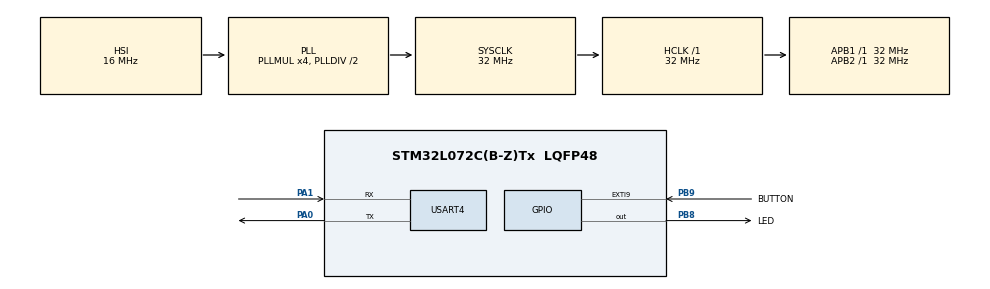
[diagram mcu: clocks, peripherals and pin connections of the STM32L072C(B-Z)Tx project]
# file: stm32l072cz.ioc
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Dma.Request0=USART4_RX
Dma.USART4_RX.0.Direction=DMA_PERIPH_TO_MEMORY
Dma.USART4_RX.0.Instance=DMA1_Channel2
Dma.USART4_RX.0.MemDataAlignment=DMA_MDATAALIGN_BYTE
Dma.USART4_RX.0.MemInc=DMA_MINC_ENABLE
Dma.USART4_RX.0.Mode=DMA_NORMAL
Dma.USART4_RX.0.PeriphDataAlignment=DMA_PDATAALIGN_BYTE
Dma.USART4_RX.0.PeriphInc=DMA_PINC_DISABLE
Dma.USART4_RX.0.Priority=DMA_PRIORITY_LOW
Mcu.Family=STM32L0
Mcu.Name=STM32L072C(B-Z)Tx
Mcu.Package=LQFP48
NVIC.DMA1_Channel2_3_IRQn=true\:0\:0\:false\:false\:true\:false\:true
NVIC.EXTI4_15_IRQn=true\:0\:0\:false\:false\:true\:true\:true
NVIC.RTC_IRQn=true\:0\:0\:false\:false\:true\:true\:true
PA0.Mode=Asynchronous
PA0.Signal=USART4_TX
PA1.Mode=Asynchronous
PA1.Signal=USART4_RX
PB8.GPIO_Label=LED
PB8.Signal=GPIO_Output
PB9.GPIO_Label=BUTTON
PB9.GPIO_PuPd=GPIO_PULLUP
PB9.Signal=GPXTI9
PC14-OSC32_IN.Mode=LSE-External-Oscillator
PC14-OSC32_IN.Signal=RCC_OSC32_IN
PC15-OSC32_OUT.Mode=LSE-External-Oscillator
PC15-OSC32_OUT.Signal=RCC_OSC32_OUT
ProjectManager.HeapSize=0x200
ProjectManager.StackSize=0x400
ProjectManager.TargetToolchain=STM32CubeIDE
RCC.AHBFreq_Value=32000000
RCC.APB1Freq_Value=32000000
RCC.APB1TimFreq_Value=32000000
RCC.APB2Freq_Value=32000000
RCC.APB2TimFreq_Value=32000000
RCC.HCLKFreq_Value=32000000
RCC.HSE_VALUE=8000000
RCC.HSI16_VALUE=16000000
RCC.HSI48_VALUE=48000000
RCC.HSI_VALUE=16000000
RCC.MSI_VALUE=2097000
RCC.PLLMUL=RCC_PLLMUL_4
RCC.RTCClockSelection=RCC_RTCCLKSOURCE_LSE
RCC.SYSCLKFreq_VALUE=32000000
RCC.SYSCLKSource=RCC_SYSCLKSOURCE_PLLCLK
RCC.VCOOutputFreq_Value=64000000
USART4.VirtualMode-Asynchronous=VM_ASYNC
VP_RTC_VS_RTC_Activate.Mode=RTC_Enabled
VP_RTC_VS_RTC_WakeUp_intern.Mode=WakeUp
board=custom

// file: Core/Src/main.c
/* USER CODE BEGIN Header */
/**
  ******************************************************************************
  * @file           : main.c
  * @brief          : Main program body
  ******************************************************************************
  * @attention
  *
  * <h2><center>&copy; Copyright (c) 2022 STMicroelectronics.
  * All rights reserved.</center></h2>
  *
  * This software component is licensed by ST under BSD 3-Clause license,
  * the "License"; You may not use this file except in compliance with the
  * License. You may obtain a copy of the License at:
  *                        opensource.org/licenses/BSD-3-Clause
  *
  ******************************************************************************
  *	https://www.youtube.com/watch?v=UtQhc4XV8k4
  ******************************************************************************
  */
/* USER CODE END Header */
#include "main.h"

/* USER CODE BEGIN Includes */
#include "string.h"
/* USER CODE END Includes */

RTC_HandleTypeDef hrtc;

UART_HandleTypeDef huart4;
DMA_HandleTypeDef hdma_usart4_rx;

void SystemClock_Config(void);
static void MX_GPIO_Init(void);
static void MX_DMA_Init(void);
static void MX_USART4_UART_Init(void);
static void MX_RTC_Init(void);

int main(void)
{

  /* MCU Configuration--------------------------------------------------------*/

  /* Reset of all peripherals, Initializes the Flash interface and the Systick. */
  HAL_Init();

  /* Configure the system clock */
  SystemClock_Config();

  /* Initialize all configured peripherals */
  MX_GPIO_Init();
  MX_DMA_Init();
  MX_USART4_UART_Init();
  MX_RTC_Init();
  /* USER CODE BEGIN 2 */

  // disable the RTC wakeup
  HAL_RTCEx_DeactivateWakeUpTimer(&hrtc);

  for (int i=0; i<20; i++){
	  HAL_GPIO_TogglePin(LED_GPIO_Port, LED_Pin);
	  HAL_Delay(200);
  }
  HAL_GPIO_WritePin(LED_GPIO_Port, LED_Pin, GPIO_PIN_SET);

  char *str = "ABOUT TO GO INTO THE STOP MODE\r\n";
  HAL_UART_Transmit(&huart4, (uint8_t *)str, strlen(str),HAL_MAX_DELAY);

  /*** RTC WAKEUP TIMER RELATED ****/

  /*## Configure the Wake up timer #############################################*/
  /*	RTC Wake-up Interrupt Generation:
   * 	Wake-up Time Base = (RTC_WAKEUPCLOCK_RTCCLK_DIV / (LSI or LSE))
   * 	==> WakeUpCounter = Wake-up Time / Wake-up Time Base
   *
   * 	To configure the wake up timer to 10s the WakeUpCounter is set to :
   * 		RTC_WAKEUPCLOCK_RTCCLK_DIV = RTCCLK_Div16 = 16
   * 		Wake-up Time Base = 16 / (32KHz) = 0.0005 seconds
   * 		==> WakeUpCounter = ~10s/0.0005s = 20000 = 0x4E20
   */

  if (HAL_RTCEx_SetWakeUpTimer_IT(&hrtc, 0x4E20, RTC_WAKEUPCLOCK_RTCCLK_DIV16) != HAL_OK)
  {
    Error_Handler();
  }

  /*** Suspend the systick before going into stop mode ****/
  HAL_SuspendTick();

  /*** enable sleep on exit for interrupt only operation ****/
  HAL_PWR_EnableSleepOnExit();

  /*** ENTER THE STOP MODE ****/
  HAL_PWR_EnterSTOPMode(PWR_LOWPOWERREGULATOR_ON, PWR_STOPENTRY_WFI);

  /*** wake up from stop mode ****/
//  SystemClock_Config();
//  HAL_ResumeTick();

  // disable the RTC wakeup
  HAL_RTCEx_DeactivateWakeUpTimer(&hrtc);

  for (int i=0; i<5; i++){
	  HAL_GPIO_TogglePin(LED_GPIO_Port, LED_Pin);
	  HAL_Delay(2000);
  }
  HAL_GPIO_WritePin(LED_GPIO_Port, LED_Pin, GPIO_PIN_SET);

  char *str2 = "WAKEUP FROM STOP MODE in the MAIN LOOP\r\n";
  HAL_UART_Transmit(&huart4, (uint8_t *)str2, strlen(str2), HAL_MAX_DELAY);

  /* USER CODE END 2 */

  /* Infinite loop */
  while (1)
  {

  }
}

void SystemClock_Config(void)
{
  RCC_OscInitTypeDef RCC_OscInitStruct = {0};
  RCC_ClkInitTypeDef RCC_ClkInitStruct = {0};
  RCC_PeriphCLKInitTypeDef PeriphClkInit = {0};

  /** Configure the main internal regulator output voltage
  */
  __HAL_PWR_VOLTAGESCALING_CONFIG(PWR_REGULATOR_VOLTAGE_SCALE1);
  /** Configure LSE Drive Capability
  */
  HAL_PWR_EnableBkUpAccess();
  __HAL_RCC_LSEDRIVE_CONFIG(RCC_LSEDRIVE_LOW);
  /** Initializes the RCC Oscillators according to the specified parameters
  * in the RCC_OscInitTypeDef structure.
  */
  RCC_OscInitStruct.OscillatorType = RCC_OSCILLATORTYPE_HSI|RCC_OSCILLATORTYPE_LSE;
  RCC_OscInitStruct.LSEState = RCC_LSE_ON;
  RCC_OscInitStruct.HSIState = RCC_HSI_ON;
  RCC_OscInitStruct.HSICalibrationValue = RCC_HSICALIBRATION_DEFAULT;
  RCC_OscInitStruct.PLL.PLLState = RCC_PLL_ON;
  RCC_OscInitStruct.PLL.PLLSource = RCC_PLLSOURCE_HSI;
  RCC_OscInitStruct.PLL.PLLMUL = RCC_PLLMUL_4;
  RCC_OscInitStruct.PLL.PLLDIV = RCC_PLLDIV_2;
  if (HAL_RCC_OscConfig(&RCC_OscInitStruct) != HAL_OK)
  {
    Error_Handler();
  }
  /** Initializes the CPU, AHB and APB buses clocks
  */
  RCC_ClkInitStruct.ClockType = RCC_CLOCKTYPE_HCLK|RCC_CLOCKTYPE_SYSCLK
                              |RCC_CLOCKTYPE_PCLK1|RCC_CLOCKTYPE_PCLK2;
  RCC_ClkInitStruct.SYSCLKSource = RCC_SYSCLKSOURCE_PLLCLK;
  RCC_ClkInitStruct.AHBCLKDivider = RCC_SYSCLK_DIV1;
  RCC_ClkInitStruct.APB1CLKDivider = RCC_HCLK_DIV1;
  RCC_ClkInitStruct.APB2CLKDivider = RCC_HCLK_DIV1;

  if (HAL_RCC_ClockConfig(&RCC_ClkInitStruct, FLASH_LATENCY_1) != HAL_OK)
  {
    Error_Handler();
  }
  PeriphClkInit.PeriphClockSelection = RCC_PERIPHCLK_RTC;
  PeriphClkInit.RTCClockSelection = RCC_RTCCLKSOURCE_LSE;
  if (HAL_RCCEx_PeriphCLKConfig(&PeriphClkInit) != HAL_OK)
  {
    Error_Handler();
  }
}

static void MX_RTC_Init(void)
{

  /* USER CODE BEGIN RTC_Init 0 */
	RTC_TimeTypeDef sTime = {0};
	RTC_DateTypeDef sDate = {0};
  /* USER CODE END RTC_Init 0 */

  /** Initialize RTC Only
  */
  hrtc.Instance = RTC;
  hrtc.Init.HourFormat = RTC_HOURFORMAT_24;
  hrtc.Init.AsynchPrediv = 127;
  hrtc.Init.SynchPrediv = 255;
  hrtc.Init.OutPut = RTC_OUTPUT_DISABLE;
  hrtc.Init.OutPutRemap = RTC_OUTPUT_REMAP_NONE;
  hrtc.Init.OutPutPolarity = RTC_OUTPUT_POLARITY_HIGH;
  hrtc.Init.OutPutType = RTC_OUTPUT_TYPE_OPENDRAIN;
  if (HAL_RTC_Init(&hrtc) != HAL_OK)
  {
    Error_Handler();
  }
  /** Enable the WakeUp
  */
  if (HAL_RTCEx_SetWakeUpTimer_IT(&hrtc, 0, RTC_WAKEUPCLOCK_RTCCLK_DIV16) != HAL_OK)
  {
    Error_Handler();
  }
  /* USER CODE BEGIN RTC_Init 2 */

  sTime.Hours = 0x0;
  sTime.Minutes = 0x0;
  sTime.Seconds = 0x0;
  sTime.DayLightSaving = RTC_DAYLIGHTSAVING_NONE;
  sTime.StoreOperation = RTC_STOREOPERATION_RESET;
  if(HAL_RTC_SetTime(&hrtc, &sTime, RTC_FORMAT_BCD) != HAL_OK){
	  Error_Handler();
  }

  sDate.WeekDay = RTC_WEEKDAY_MONDAY;
  sDate.Month = RTC_MONTH_JANUARY;
  sDate.Date = 0x1;
  sDate.Year = 0x0;
  if(HAL_RTC_SetDate(&hrtc, &sDate, RTC_FORMAT_BCD) != HAL_OK){
	  Error_Handler();
  }

  /* USER CODE END RTC_Init 2 */

}

static void MX_USART4_UART_Init(void)
{

  huart4.Instance = USART4;
  huart4.Init.BaudRate = 115200;
  huart4.Init.WordLength = UART_WORDLENGTH_8B;
  huart4.Init.StopBits = UART_STOPBITS_1;
  huart4.Init.Parity = UART_PARITY_NONE;
  huart4.Init.Mode = UART_MODE_TX_RX;
  huart4.Init.HwFlowCtl = UART_HWCONTROL_NONE;
  huart4.Init.OverSampling = UART_OVERSAMPLING_16;
  huart4.Init.OneBitSampling = UART_ONE_BIT_SAMPLE_DISABLE;
  huart4.AdvancedInit.AdvFeatureInit = UART_ADVFEATURE_NO_INIT;
  if (HAL_UART_Init(&huart4) != HAL_OK)
  {
    Error_Handler();
  }

}

static void MX_DMA_Init(void)
{

  /* DMA controller clock enable */
  __HAL_RCC_DMA1_CLK_ENABLE();

  /* DMA interrupt init */
  /* DMA1_Channel2_3_IRQn interrupt configuration */
  HAL_NVIC_SetPriority(DMA1_Channel2_3_IRQn, 0, 0);
  HAL_NVIC_EnableIRQ(DMA1_Channel2_3_IRQn);

}

static void MX_GPIO_Init(void)
{
  GPIO_InitTypeDef GPIO_InitStruct = {0};

  /* GPIO Ports Clock Enable */
  __HAL_RCC_GPIOC_CLK_ENABLE();
  __HAL_RCC_GPIOA_CLK_ENABLE();
  __HAL_RCC_GPIOB_CLK_ENABLE();

  /*Configure GPIO pin Output Level */
  HAL_GPIO_WritePin(LED_GPIO_Port, LED_Pin, GPIO_PIN_RESET);

  /*Configure GPIO pin : LED_Pin */
  GPIO_InitStruct.Pin = LED_Pin;
  GPIO_InitStruct.Mode = GPIO_MODE_OUTPUT_PP;
  GPIO_InitStruct.Pull = GPIO_NOPULL;
  GPIO_InitStruct.Speed = GPIO_SPEED_FREQ_LOW;
  HAL_GPIO_Init(LED_GPIO_Port, &GPIO_InitStruct);

  /*Configure GPIO pin : BUTTON_Pin */
  GPIO_InitStruct.Pin = BUTTON_Pin;
  GPIO_InitStruct.Mode = GPIO_MODE_IT_RISING;
  GPIO_InitStruct.Pull = GPIO_PULLUP;
  HAL_GPIO_Init(BUTTON_GPIO_Port, &GPIO_InitStruct);

  /* EXTI interrupt init*/
  HAL_NVIC_SetPriority(EXTI4_15_IRQn, 0, 0);
  HAL_NVIC_EnableIRQ(EXTI4_15_IRQn);

}

/* USER CODE BEGIN 4 */
/**
  * @brief  EXTI line detection callbacks.
  * @param  GPIO_Pin Specifies the pins connected to the EXTI line.
  * @retval None
  */
void HAL_GPIO_EXTI_Callback(uint16_t GPIO_Pin)
{
  /* NOTE: This function Should not be modified, when the callback is needed,
           the HAL_GPIO_EXTI_Callback could be implemented in the user file
   */

	if(GPIO_Pin == GPIO_PIN_9){

		SystemClock_Config();
		HAL_ResumeTick();

		char *str3 = "WAKEUP FROM EXTI\r\n";
		HAL_UART_Transmit(&huart4, (uint8_t *)str3, strlen(str3), HAL_MAX_DELAY);

		HAL_PWR_DisableSleepOnExit();
	}
}

/**
  * @brief  Wake Up Timer callback.
  * @param  hrtc RTC handle
  * @retval None
  */
void HAL_RTCEx_WakeUpTimerEventCallback(RTC_HandleTypeDef *hrtc)
{
  /* NOTE : This function should not be modified, when the callback is needed,
            the HAL_RTCEx_WakeUpTimerEventCallback could be implemented in the user file
   */

	SystemClock_Config();
	HAL_ResumeTick();

	char *str3 = "WAKEUP FROM RTC\r\n";
	HAL_UART_Transmit(&huart4, (uint8_t *)str3, strlen(str3), HAL_MAX_DELAY);
}

/* USER CODE END 4 */

void Error_Handler(void)
{
  __disable_irq();
  while (1)
  {
  }
}

/************************ (C) COPYRIGHT STMicroelectronics *****END OF FILE****/
